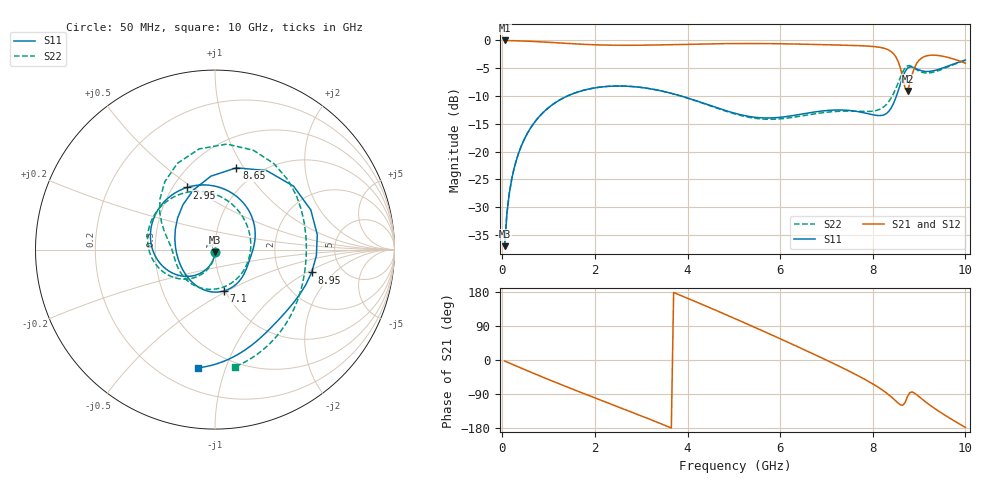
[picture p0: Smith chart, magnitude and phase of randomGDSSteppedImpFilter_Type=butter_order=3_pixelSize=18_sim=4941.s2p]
! freq	dB(S11)	phase(S11)	dB(S12)	phase(S12)
!  dB(S21)	phase(S21)	dB(S22)	phase(S22)
!S-par simulation data
#  GHz  S  DB  R 50
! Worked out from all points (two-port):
!   200 points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, 50 MHz to 10 GHz, reference 50 ohm
!   highest |S21| = -0.02 dB at 50 MHz (marker M1); lowest = -9.1 dB at 8.75 GHz (marker M2)
!   |S21| within 3 dB of the highest: start of sweep to 8.503 GHz; 9.089 GHz to 9.604 GHz (514.6 MHz wide, 5.51 % of centre)
!   lowest |S11| = -37.0 dB at 50 MHz (marker M3), VSWR 1.03, Z = 50 - j1.42 ohm
!   |S11| at or under -10 dB: start of sweep to 1.406 GHz; 3.861 GHz to 8.51 GHz (4.649 GHz wide, 75.2 % of centre)
!   |S22| runs from -37.0 to -3.6 dB; largest |S21 - S12| = 0
!   S11 on the Smith chart (normalised r, x): 50 MHz: 1.00, -0.03; 2.95 GHz: 0.59, +0.48; 7.1 GHz: 0.99, -0.48; 8.65 GHz: 0.79, +0.93; 8.95 GHz: 3.03, -1.11; 10 GHz: 0.34, -0.81
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0.05  -36.98 -87.9  -0.02 -2.7  -0.02 -2.7  -36.97 -87.6
0.1  -31.05 -93.1  -0.03 -5.3  -0.03 -5.3  -31.04 -92.5
0.2  -25.09 -99.9  -0.05 -10.6  -0.05 -10.6  -25.07 -98.7
0.5  -17.36 -117.4  -0.12 -26.2  -0.12 -26.2  -17.35 -114.4
1.15  -11.17 -152.9  -0.43 -59.0  -0.43 -59.0  -11.16 -145.9
1.75  -8.98 175.9  -0.71 -88.1  -0.71 -88.1  -8.97 -173.0
2.95  -8.41 114.2  -0.88 -145.0  -0.88 -145.0  -8.41 134.9
3.4  -9.02 90.4  -0.82 -166.9  -0.82 -166.9  -9.03 115.0
4.2  -10.89 48.0  -0.66 152.6  -0.66 152.6  -10.93 77.4
5.05  -13.16 7.1  -0.57 107.8  -0.57 107.8  -13.28 30.2
5.85  -13.92 -23.7  -0.59 64.4  -0.59 64.4  -14.18 -24.5
6.7  -12.92 -58.2  -0.73 16.9  -0.73 16.9  -13.25 -84.4
7.1  -12.55 -77.8  -0.81 -6.2  -0.81 -6.2  -12.83 -111.0
7.75  -12.91 -117.3  -0.97 -45.9  -0.97 -45.9  -12.77 -153.6
8.35  -12.71 165.1  -1.77 -92.2  -1.77 -92.2  -10.95 164.0
8.5  -10.25 125.5  -2.97 -108.4  -2.97 -108.4  -8.60 146.0
8.65  -6.54 75.4  -6.83 -119.3  -6.83 -119.3  -5.61 113.5
8.75  -5.00 38.9  -9.07 -96.4  -9.07 -96.4  -4.56 83.6
8.95  -5.14 -13.3  -4.11 -91.8  -4.11 -91.8  -5.28 33.6
9.15  -5.59 -39.3  -2.81 -111.5  -2.81 -111.5  -5.86 2.1
9.45  -5.14 -62.9  -2.76 -137.2  -2.76 -137.2  -5.34 -32.2
10  -3.53 -98.3  -4.10 -177.8  -4.10 -177.8  -3.58 -80.1
